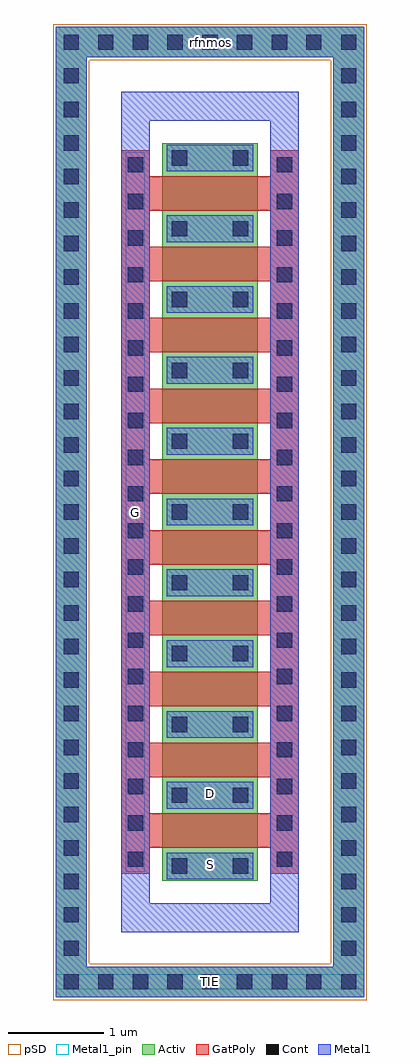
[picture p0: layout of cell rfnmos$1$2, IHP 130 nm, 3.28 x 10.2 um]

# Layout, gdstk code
import gdstk
lib = gdstk.Library(unit=1e-6, precision=1e-09)
def R(c, l, rs):  # rectangles x0, y0, x1, y1
    for r in rs: c.add(gdstk.rectangle(r[:2], r[2:], *l))
def A(c, l, x, y, w, h, nx, ny, dx, dy):  # array of equal rectangles
    R(c, l, [(x+i*dx, y+j*dy, x+i*dx+w, y+j*dy+h) for i in range(nx) for j in range(ny)])
def P(c, l, *ps):  # polygons
    for p in ps: c.add(gdstk.Polygon(p, *l))
Activ = (1, 0)
GatPoly = (5, 0)
Cont = (6, 0)
Metal1 = (8, 0)
Metal1_pin = (8, 2)
pSD = (14, 0)

rfnmos_1_2 = lib.new_cell('rfnmos$1$2')
R(rfnmos_1_2, Activ, [(1.14,1.245,2.14,8.955)])
P(rfnmos_1_2, Activ, [(0.03,0.03),(0.03,9.85),(0.35,9.85),(0.35,0.35),(2.93,0.35),(2.93,9.85),(0.03,9.85),(0.03,10.17),(3.25,10.17),(3.25,0.03)])
A(rfnmos_1_2, GatPoly, 1.01, 1.59, 1.26, 0.36, 1, 10, 0, 0.74)
R(rfnmos_1_2, GatPoly, [(0.71,1.32,1.01,8.88), (2.27,1.32,2.57,8.88)])
A(rfnmos_1_2, Cont, 0.11, 0.11, 0.16, 0.16, 1, 8, 0, 0.35)
A(rfnmos_1_2, Cont, 3.01, 0.11, 0.16, 0.16, 1, 8, 0, 0.35)
A(rfnmos_1_2, Cont, 1.24, 1.32, 0.16, 0.16, 1, 11, 0, 0.74)
A(rfnmos_1_2, Cont, 1.88, 1.32, 0.16, 0.16, 1, 11, 0, 0.74)
A(rfnmos_1_2, Cont, 0.78, 1.39, 0.16, 0.16, 1, 3, 0, 0.38)
A(rfnmos_1_2, Cont, 2.34, 1.39, 0.16, 0.16, 1, 3, 0, 0.38)
A(rfnmos_1_2, Cont, 0.11, 2.915, 0.16, 0.16, 1, 6, 0, 0.35)
A(rfnmos_1_2, Cont, 3.01, 2.915, 0.16, 0.16, 1, 6, 0, 0.35)
A(rfnmos_1_2, Cont, 0.78, 3.3, 0.16, 0.16, 1, 3, 0, 0.38)
A(rfnmos_1_2, Cont, 2.34, 3.3, 0.16, 0.16, 1, 3, 0, 0.38)
A(rfnmos_1_2, Cont, 0.11, 5.02, 0.16, 0.16, 1, 7, 0, 0.35)
A(rfnmos_1_2, Cont, 3.01, 5.02, 0.16, 0.16, 1, 7, 0, 0.35)
A(rfnmos_1_2, Cont, 0.78, 5.975, 0.16, 0.16, 1, 3, 0, 0.38)
A(rfnmos_1_2, Cont, 2.34, 5.975, 0.16, 0.16, 1, 3, 0, 0.38)
A(rfnmos_1_2, Cont, 0.11, 7.475, 0.16, 0.16, 1, 6, 0, 0.35)
A(rfnmos_1_2, Cont, 3.01, 7.475, 0.16, 0.16, 1, 6, 0, 0.35)
R(rfnmos_1_2, Cont, [(0.47,0.11,0.63,0.27), (0.835,0.11,0.995,0.27), (1.195,0.11,1.355,0.27), (1.56,0.11,1.72,0.27), (1.92,0.11,2.08,0.27), (2.285,0.11,2.445,0.27), (2.645,0.11,2.805,0.27), (0.78,2.535,0.94,2.695), (2.34,2.535,2.5,2.695), (0.78,2.915,0.94,3.075), (2.34,2.915,2.5,3.075), (0.78,4.445,0.94,4.605), (2.34,4.445,2.5,4.605), (0.78,4.825,0.94,4.985), (2.34,4.825,2.5,4.985), (0.78,5.21,0.94,5.37), (2.34,5.21,2.5,5.37), (0.78,5.59,0.94,5.75), (2.34,5.59,2.5,5.75), (0.78,7.12,0.94,7.28), (2.34,7.12,2.5,7.28), (0.78,7.5,0.94,7.66), (2.34,7.5,2.5,7.66), (0.78,7.885,0.94,8.045), (2.34,7.885,2.5,8.045), (0.78,8.265,0.94,8.425), (2.34,8.265,2.5,8.425), (0.78,8.65,0.94,8.81), (2.34,8.65,2.5,8.81), (0.11,9.58,0.27,9.74), (3.01,9.58,3.17,9.74), (0.11,9.93,0.27,10.09), (0.47,9.93,0.63,10.09), (0.835,9.93,0.995,10.09), (1.195,9.93,1.355,10.09), (1.56,9.93,1.72,10.09), (1.92,9.93,2.08,10.09), (2.285,9.93,2.445,10.09), (2.645,9.93,2.805,10.09), (3.01,9.93,3.17,10.09)])
A(rfnmos_1_2, Metal1, 1.19, 1.26, 0.9, 0.28, 1, 11, 0, 0.74)
R(rfnmos_1_2, Metal1, [(0.03,0.03,3.25,0.35), (0.03,0.35,0.35,9.85), (2.93,0.35,3.25,9.85), (0.76,1.34,0.96,8.86), (2.32,1.34,2.52,8.86), (0.03,9.85,3.25,10.17)])
P(rfnmos_1_2, Metal1, [(0.71,0.71),(0.71,9.19),(1.01,9.19),(1.01,1.01),(2.27,1.01),(2.27,9.19),(0.71,9.19),(0.71,9.49),(2.57,9.49),(2.57,0.71)])
R(rfnmos_1_2, Metal1_pin, [(0.03,0.11,3.25,0.27), (0.03,0.11,3.25,0.27), (1.19,1.26,2.09,1.54), (1.19,1.26,2.09,1.54), (0.76,1.34,0.96,8.86), (0.76,1.34,0.96,8.86), (1.19,2,2.09,2.28), (1.19,2,2.09,2.28)])
P(rfnmos_1_2, pSD, [(0,0),(0,9.82),(0.38,9.82),(0.38,0.38),(2.9,0.38),(2.9,9.82),(0,9.82),(0,10.2),(3.28,10.2),(3.28,0)])
rfnmos_1_2.add(gdstk.Label('S', (1.64,1.418), layer=63, texttype=0))
rfnmos_1_2.add(gdstk.Label('D', (1.64,2.157), layer=63, texttype=0))
rfnmos_1_2.add(gdstk.Label('G', (0.86,5.1), layer=63, texttype=0))
rfnmos_1_2.add(gdstk.Label('TIE', (1.64,0.19), layer=63, texttype=0))
rfnmos_1_2.add(gdstk.Label('rfnmos', (1.64,10.01), layer=63, texttype=0))

lib.write_gds('rfnmos_1_2.gds')
